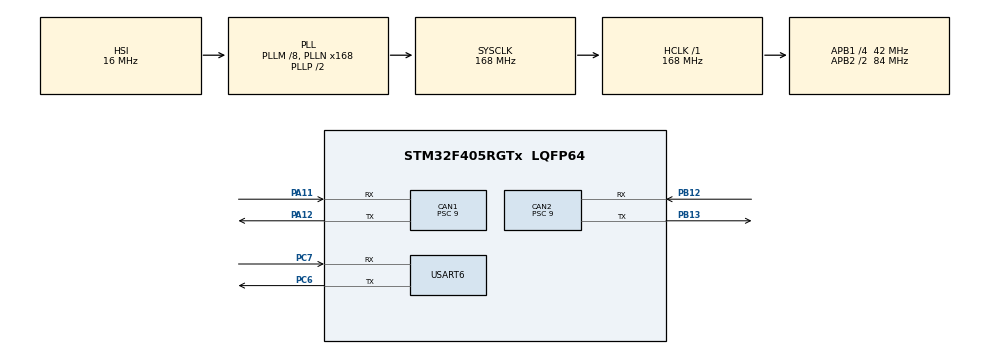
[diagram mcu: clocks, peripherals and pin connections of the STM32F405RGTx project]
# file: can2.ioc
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CAN1.BS1=CAN_BS1_2TQ
CAN1.BS2=CAN_BS2_2TQ
CAN1.CalculateBaudRate=933333
CAN1.CalculateTimeBit=1071
CAN1.CalculateTimeQuantum=214.28571428571428
CAN1.Mode=CAN_MODE_NORMAL
CAN1.Prescaler=9
CAN2.BS1=CAN_BS1_2TQ
CAN2.BS2=CAN_BS2_2TQ
CAN2.CalculateBaudRate=933333
CAN2.CalculateTimeBit=1071
CAN2.CalculateTimeQuantum=214.28571428571428
CAN2.Mode=CAN_MODE_NORMAL
CAN2.Prescaler=9
Dma.Request0=USART6_RX
Dma.Request1=USART6_TX
Dma.USART6_RX.0.Direction=DMA_PERIPH_TO_MEMORY
Dma.USART6_RX.0.FIFOMode=DMA_FIFOMODE_DISABLE
Dma.USART6_RX.0.Instance=DMA2_Stream1
Dma.USART6_RX.0.MemDataAlignment=DMA_MDATAALIGN_BYTE
Dma.USART6_RX.0.MemInc=DMA_MINC_ENABLE
Dma.USART6_RX.0.Mode=DMA_NORMAL
Dma.USART6_RX.0.PeriphDataAlignment=DMA_PDATAALIGN_BYTE
Dma.USART6_RX.0.PeriphInc=DMA_PINC_DISABLE
Dma.USART6_RX.0.Priority=DMA_PRIORITY_MEDIUM
Dma.USART6_TX.1.Direction=DMA_MEMORY_TO_PERIPH
Dma.USART6_TX.1.FIFOMode=DMA_FIFOMODE_DISABLE
Dma.USART6_TX.1.Instance=DMA2_Stream6
Dma.USART6_TX.1.MemDataAlignment=DMA_MDATAALIGN_BYTE
Dma.USART6_TX.1.MemInc=DMA_MINC_ENABLE
Dma.USART6_TX.1.Mode=DMA_NORMAL
Dma.USART6_TX.1.PeriphDataAlignment=DMA_PDATAALIGN_BYTE
Dma.USART6_TX.1.PeriphInc=DMA_PINC_DISABLE
Dma.USART6_TX.1.Priority=DMA_PRIORITY_LOW
FREERTOS.Queues01=myQueue01,16,uint16_t,0,Dynamic,NULL,NULL
FREERTOS.Tasks01=defaultTask,24,128,StartDefaultTask,Default,NULL,Dynamic,NULL,NULL;myTask01,8,128,StartTask01,Default,NULL,Dynamic,NULL,NULL
Mcu.Family=STM32F4
Mcu.Name=STM32F405RGTx
Mcu.Package=LQFP64
NVIC.CAN1_RX0_IRQn=true\:5\:0\:false\:false\:true\:true\:true\:true\:true
NVIC.CAN1_RX1_IRQn=true\:5\:0\:false\:false\:true\:true\:true\:true\:true
NVIC.CAN2_RX0_IRQn=true\:5\:0\:false\:false\:true\:true\:true\:true\:true
NVIC.CAN2_RX1_IRQn=true\:5\:0\:false\:false\:true\:true\:true\:true\:true
NVIC.DMA2_Stream1_IRQn=true\:5\:0\:false\:false\:true\:true\:false\:true\:true
NVIC.DMA2_Stream6_IRQn=true\:5\:0\:false\:false\:true\:true\:false\:true\:true
NVIC.PriorityGroup=NVIC_PRIORITYGROUP_4
NVIC.TIM1_UP_TIM10_IRQn=true\:15\:0\:false\:false\:true\:false\:false\:true\:true
NVIC.TimeBase=TIM1_UP_TIM10_IRQn
NVIC.TimeBaseIP=TIM1
NVIC.USART6_IRQn=true\:5\:0\:false\:false\:true\:true\:false\:true\:true
PA11.Mode=CAN_Activate
PA11.Signal=CAN1_RX
PA12.Mode=CAN_Activate
PA12.Signal=CAN1_TX
PA13.Mode=Serial_Wire
PA13.Signal=SYS_JTMS-SWDIO
PA14.Mode=Serial_Wire
PA14.Signal=SYS_JTCK-SWCLK
PB12.Mode=CAN_Activate
PB12.Signal=CAN2_RX
PB13.Mode=CAN_Activate
PB13.Signal=CAN2_TX
PC6.Mode=Asynchronous
PC6.Signal=USART6_TX
PC7.Mode=Asynchronous
PC7.Signal=USART6_RX
PH0-OSC_IN.Mode=HSE-External-Oscillator
PH0-OSC_IN.Signal=RCC_OSC_IN
PH1-OSC_OUT.Mode=HSE-External-Oscillator
PH1-OSC_OUT.Signal=RCC_OSC_OUT
ProjectManager.HeapSize=0x200
ProjectManager.StackSize=0x400
ProjectManager.TargetToolchain=MDK-ARM V5.32
RCC.48MHZClocksFreq_Value=84000000
RCC.AHBFreq_Value=168000000
RCC.APB1CLKDivider=RCC_HCLK_DIV4
RCC.APB1Freq_Value=42000000
RCC.APB1TimFreq_Value=84000000
RCC.APB2CLKDivider=RCC_HCLK_DIV2
RCC.APB2Freq_Value=84000000
RCC.APB2TimFreq_Value=168000000
RCC.CortexFreq_Value=168000000
RCC.HCLKFreq_Value=168000000
RCC.HSE_VALUE=25000000
RCC.HSI_VALUE=16000000
RCC.LSE_VALUE=32768
RCC.PLLM=8
RCC.PLLN=168
RCC.SYSCLKFreq_VALUE=168000000
RCC.SYSCLKSource=RCC_SYSCLKSOURCE_PLLCLK
RCC.VCOOutputFreq_Value=336000000
USART6.VirtualMode=VM_ASYNC
VP_FREERTOS_VS_CMSIS_V2.Mode=CMSIS_V2
VP_SYS_VS_tim1.Mode=TIM1
board=custom

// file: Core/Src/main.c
/* USER CODE BEGIN Header */
/**
  ******************************************************************************
  * @file           : main.c
  * @brief          : Main program body
  ******************************************************************************
  * @attention
  *
  * Copyright (c) 2024 STMicroelectronics.
  * All rights reserved.
  *
  * This software is licensed under terms that can be found in the LICENSE file
  * in the root directory of this software component.
  * If no LICENSE file comes with this software, it is provided AS-IS.
  *
  ******************************************************************************
  */
/* USER CODE END Header */
#include "main.h"
#include "cmsis_os.h"
#include "can.h"
#include "dma.h"
#include "usart.h"
#include "gpio.h"

void SystemClock_Config(void);
void MX_FREERTOS_Init(void);

int main(void)
{

  /* MCU Configuration--------------------------------------------------------*/

  /* Reset of all peripherals, Initializes the Flash interface and the Systick. */
  HAL_Init();

  /* Configure the system clock */
  SystemClock_Config();

  /* Initialize all configured peripherals */
  MX_GPIO_Init();
  MX_DMA_Init();
  MX_USART6_UART_Init();
  MX_CAN1_Init();
  MX_CAN2_Init();

  /* Init scheduler */
  osKernelInitialize();

  /* Call init function for freertos objects (in cmsis_os2.c) */
  MX_FREERTOS_Init();

  /* Start scheduler */
  osKernelStart();

  /* We should never get here as control is now taken by the scheduler */

  /* Infinite loop */
  while (1)
  {

  }
}

void SystemClock_Config(void)
{
  RCC_OscInitTypeDef RCC_OscInitStruct = {0};
  RCC_ClkInitTypeDef RCC_ClkInitStruct = {0};

  /** Configure the main internal regulator output voltage
  */
  __HAL_RCC_PWR_CLK_ENABLE();
  __HAL_PWR_VOLTAGESCALING_CONFIG(PWR_REGULATOR_VOLTAGE_SCALE1);

  /** Initializes the RCC Oscillators according to the specified parameters
  * in the RCC_OscInitTypeDef structure.
  */
  RCC_OscInitStruct.OscillatorType = RCC_OSCILLATORTYPE_HSI;
  RCC_OscInitStruct.HSIState = RCC_HSI_ON;
  RCC_OscInitStruct.HSICalibrationValue = RCC_HSICALIBRATION_DEFAULT;
  RCC_OscInitStruct.PLL.PLLState = RCC_PLL_ON;
  RCC_OscInitStruct.PLL.PLLSource = RCC_PLLSOURCE_HSI;
  RCC_OscInitStruct.PLL.PLLM = 8;
  RCC_OscInitStruct.PLL.PLLN = 168;
  RCC_OscInitStruct.PLL.PLLP = RCC_PLLP_DIV2;
  RCC_OscInitStruct.PLL.PLLQ = 4;
  if (HAL_RCC_OscConfig(&RCC_OscInitStruct) != HAL_OK)
  {
    Error_Handler();
  }

  /** Initializes the CPU, AHB and APB buses clocks
  */
  RCC_ClkInitStruct.ClockType = RCC_CLOCKTYPE_HCLK|RCC_CLOCKTYPE_SYSCLK
                              |RCC_CLOCKTYPE_PCLK1|RCC_CLOCKTYPE_PCLK2;
  RCC_ClkInitStruct.SYSCLKSource = RCC_SYSCLKSOURCE_PLLCLK;
  RCC_ClkInitStruct.AHBCLKDivider = RCC_SYSCLK_DIV1;
  RCC_ClkInitStruct.APB1CLKDivider = RCC_HCLK_DIV4;
  RCC_ClkInitStruct.APB2CLKDivider = RCC_HCLK_DIV2;

  if (HAL_RCC_ClockConfig(&RCC_ClkInitStruct, FLASH_LATENCY_5) != HAL_OK)
  {
    Error_Handler();
  }
}

void HAL_TIM_PeriodElapsedCallback(TIM_HandleTypeDef *htim)
{
  if (htim->Instance == TIM1) {
    HAL_IncTick();
  }
}

void Error_Handler(void)
{
  __disable_irq();
  while (1)
  {
  }
}

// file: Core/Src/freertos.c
/* USER CODE BEGIN Header */
/**
  ******************************************************************************
  * File Name          : freertos.c
  * Description        : Code for freertos applications
  ******************************************************************************
  * @attention
  *
  * Copyright (c) 2024 STMicroelectronics.
  * All rights reserved.
  *
  * This software is licensed under terms that can be found in the LICENSE file
  * in the root directory of this software component.
  * If no LICENSE file comes with this software, it is provided AS-IS.
  *
  ******************************************************************************
  */
/* USER CODE END Header */

#include "FreeRTOS.h"
#include "task.h"
#include "main.h"
#include "cmsis_os.h"

/* USER CODE BEGIN Includes */
#include "queue.h"
#include "usart.h"
#include "can.h"

/* USER CODE END Includes */

/* USER CODE BEGIN Variables */

extern CAN_HandleTypeDef hcan1;

/* USER CODE END Variables */
/* Definitions for defaultTask */
osThreadId_t defaultTaskHandle;
const osThreadAttr_t defaultTask_attributes = {
  .name = "defaultTask",
  .stack_size = 128 * 4,
  .priority = (osPriority_t) osPriorityNormal,
};
/* Definitions for myTask01 */
osThreadId_t myTask01Handle;
const osThreadAttr_t myTask01_attributes = {
  .name = "myTask01",
  .stack_size = 128 * 4,
  .priority = (osPriority_t) osPriorityLow,
};
/* Definitions for myQueue01 */
osMessageQueueId_t myQueue01Handle;
const osMessageQueueAttr_t myQueue01_attributes = {
  .name = "myQueue01"
};

void StartDefaultTask(void *argument);
void StartTask01(void *argument);

void MX_FREERTOS_Init(void); /* (MISRA C 2004 rule 8.1) */

void MX_FREERTOS_Init(void) {

  /* Create the queue(s) */
  /* creation of myQueue01 */
  myQueue01Handle = osMessageQueueNew (16, sizeof(uint16_t), &myQueue01_attributes);

  /* Create the thread(s) */
  /* creation of defaultTask */
  defaultTaskHandle = osThreadNew(StartDefaultTask, NULL, &defaultTask_attributes);

  /* creation of myTask01 */
  myTask01Handle = osThreadNew(StartTask01, NULL, &myTask01_attributes);

}

void StartDefaultTask(void *argument)
{
  /* USER CODE BEGIN StartDefaultTask */
  /* Infinite loop */
  for(;;)
  {
    vTaskDelete(NULL);
  }
  /* USER CODE END StartDefaultTask */
}

void StartTask01(void *argument)
{
  /* USER CODE BEGIN StartTask01 */
    TickType_t xLastWakeTime;
    const TickType_t xFrequency = 10;
      xLastWakeTime = xTaskGetTickCount();

    HAL_UARTEx_ReceiveToIdle_DMA(&huart6, rx_buff, BUFF_SIZE);
    __HAL_DMA_DISABLE_IT(&hdma_usart6_rx, DMA_IT_HT);

    BaseType_t xReturn;
    uint16_t temp;

    CAN_Init(&hcan1);
    CAN_Init(&hcan2);
    CAN1_Filter_Mask_Config(&hcan1, CAN_FILTER(0) | CAN_FIFO_1 | CAN_STDID | CAN_DATA_TYPE, 0x114, 0x7ff);
    CAN2_Filter_Mask_Config(&hcan2, CAN_FILTER(14) | CAN_FIFO_1 | CAN_STDID | CAN_DATA_TYPE, 0x114, 0x7ff);

    uint8_t Send_Data = 0;

  /* Infinite loop */
  for(;;)
  {
    xReturn=xQueueReceive(myQueue01Handle,&temp,1);
      if(temp == 1)
      {
          CAN_Send_Data(&hcan1, 0x114, &Send_Data, 1);
          osDelay(10);
      }
      else if(temp == 2)
      {
          CAN_Send_Data(&hcan2, 0x114, &Send_Data, 1);
          osDelay(10);
      }
    vTaskDelayUntil( &xLastWakeTime, xFrequency );
  }
  /* USER CODE END StartTask01 */
}
